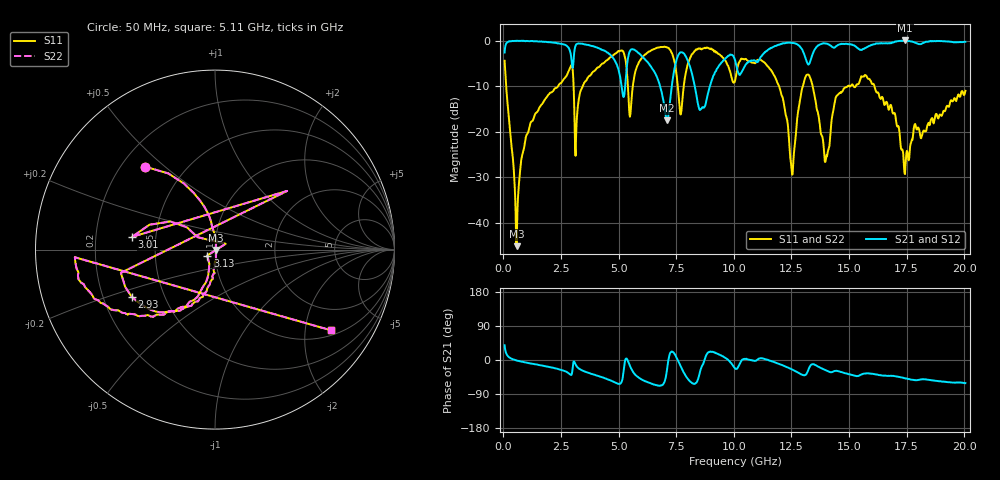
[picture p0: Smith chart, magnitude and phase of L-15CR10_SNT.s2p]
#	mhz	s	ma	r	50
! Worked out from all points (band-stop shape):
!   1001 points, 50 MHz to 20.05 GHz, reference 50 ohm
!   highest |S21| = 0.14 dB at 17.43 GHz (marker M1); lowest = -17.5 dB at 7.11 GHz (marker M2)
!   |S21| within 3 dB of the highest: start of sweep to 2.919 GHz; 13.42 GHz to end of sweep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
!   lowest |S11| = -45.2 dB at 570 MHz (marker M3), VSWR 1.01, Z = 50.5 - j0.178 ohm
!   |S11| at or under -10 dB: 118.2 MHz to 2.361 GHz (2.243 GHz wide, 181 % of centre); 13.42 GHz to 14.93 GHz (1.503 GHz wide, 10.6 % of centre); 16.11 GHz to end of sweep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
!   |S22| runs from -45.2 to -1.2 dB; largest |S21 - S12| = 0
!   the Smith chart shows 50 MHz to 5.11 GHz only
!   S11 on the Smith chart (normalised r, x): 50 MHz: 0.29, +0.43; 2.93 GHz: 0.32, -0.24; 3.01 GHz: 0.36, +0.07; 3.13 GHz: 0.92, -0.06; 5.11 GHz: 1.17, -2.74
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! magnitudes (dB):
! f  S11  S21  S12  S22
! 50 MHz  -4.3  -2.5  -2.5  -4.3
! 570 MHz  -45.2  0.1  0.1  -45.2
! 1.15 GHz  -18.5  0.0  0.0  -18.5
! 2.93 GHz  -5.5  -3.2  -3.2  -5.5
! 3.01 GHz  -6.6  -5.9  -5.9  -6.6
! 3.13 GHz  -25.3  -1.0  -1.0  -25.3
! 3.39 GHz  -10.5  -0.6  -0.6  -10.5
! 5.11 GHz  -2.1  -9.3  -9.3  -2.1
! 5.51 GHz  -16.1  -2.0  -2.0  -16.1
! 6.73 GHz  -1.4  -8.8  -8.8  -1.4
! 7.11 GHz  -1.4  -17.5  -17.5  -1.4
! 7.67 GHz  -15.9  -2.5  -2.5  -15.9
! 8.59 GHz  -1.8  -14.9  -14.9  -1.8
! 10.05 GHz  -8.8  -4.2  -4.2  -8.8
! 11.63 GHz  -6.5  -1.5  -1.5  -6.5
! 12.53 GHz  -29.4  -0.4  -0.4  -29.4
! 13.39 GHz  -9.3  -3.3  -3.3  -9.3
! 14.01 GHz  -25.6  -0.5  -0.5  -25.6
! 14.85 GHz  -10.2  -0.6  -0.6  -10.2
! 16.73 GHz  -15.1  -0.4  -0.4  -15.1
! 17.43 GHz  -29.3  0.1  0.1  -29.3
! 20.05 GHz  -11.0  -0.2  -0.2  -11.0
